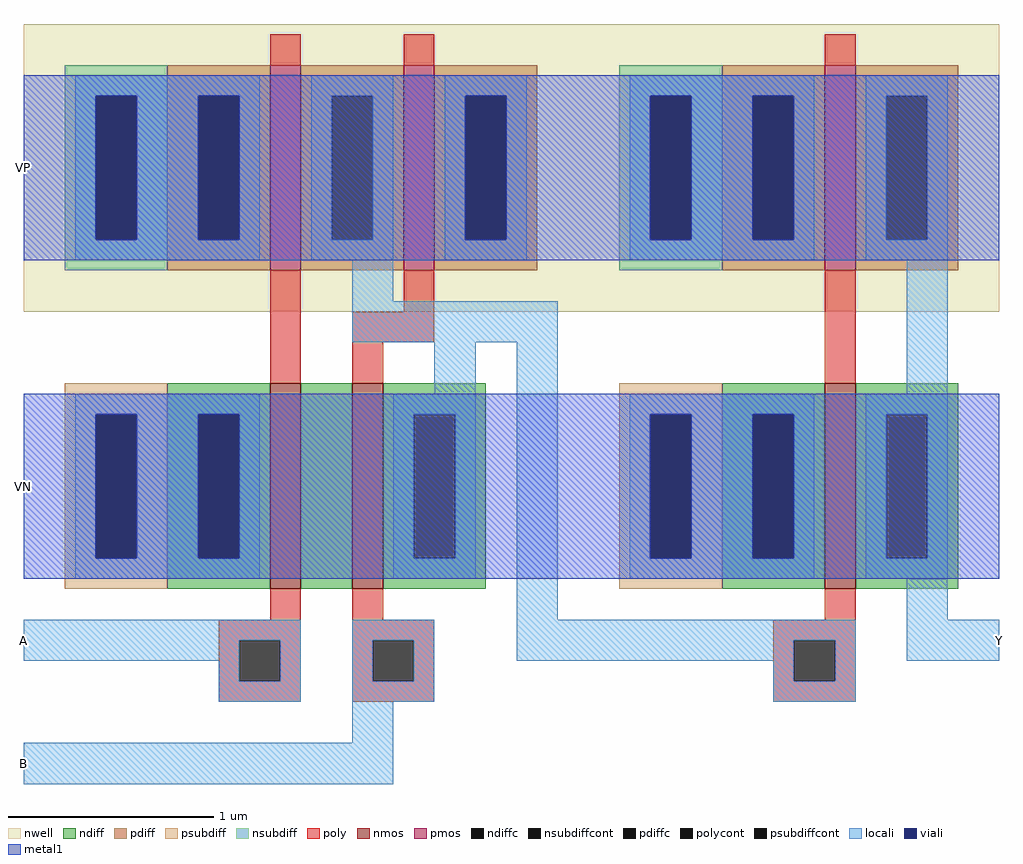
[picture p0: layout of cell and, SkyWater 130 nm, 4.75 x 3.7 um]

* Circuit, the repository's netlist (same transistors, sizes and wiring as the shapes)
* NGSPICE file created from and.ext - technology: sky130A

.subckt inverter A Y VP VN
X0 Y A VP VP sky130_fd_pr__pfet_01v8 ad=0.5 pd=3 as=0.5 ps=3 w=1 l=0.15
X1 Y A VN VN sky130_fd_pr__nfet_01v8 ad=0.5 pd=3 as=0.5 ps=3 w=1 l=0.15
.ends

.subckt nand A B Y VP VN
X0 Y A VP VP sky130_fd_pr__pfet_01v8 ad=0.25 pd=1.5 as=0.5 ps=3 w=1 l=0.15
X1 a_30_0# A VN VN sky130_fd_pr__nfet_01v8 ad=0.125 pd=1.25 as=0.5 ps=3 w=1 l=0.15
X2 Y B a_30_0# VN sky130_fd_pr__nfet_01v8 ad=0.5 pd=3 as=0.125 ps=1.25 w=1 l=0.15
X3 VP B Y VP sky130_fd_pr__pfet_01v8 ad=0.5 pd=3 as=0.25 ps=1.5 w=1 l=0.15
.ends


* Top level circuit and

Xinverter_0 nand_1/Y Y VP VN inverter
Xnand_1 A B nand_1/Y VP VN nand
.end

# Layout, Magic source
magic
tech sky130A
<< locali >>
rect -280 30 -260 50
rect 175 30 195 50
rect -280 -30 -260 -10
<< metal1 >>
rect -280 225 -255 315
rect -280 70 -255 160
use inverter  inverter_0
transform 1 0 105 0 1 75
box -115 -65 90 265
use nand  nand_1
transform 1 0 -160 0 1 65
box -120 -95 150 275
<< labels >>
rlabel locali -280 40 -280 40 7 A
rlabel locali -280 -20 -280 -20 7 B
rlabel locali 195 40 195 40 3 Y
rlabel metal1 -280 270 -280 270 7 VP
rlabel metal1 -280 115 -280 115 7 VN
<< end >>

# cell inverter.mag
magic
tech sky130A
<< nwell >>
rect -115 125 90 265
<< nmos >>
rect 5 -10 20 90
<< pmos >>
rect 5 145 20 245
<< ndiff >>
rect -45 75 5 90
rect -45 5 -30 75
rect -10 5 5 75
rect -45 -10 5 5
rect 20 75 70 90
rect 20 5 35 75
rect 55 5 70 75
rect 20 -10 70 5
<< pdiff >>
rect -45 230 5 245
rect -45 160 -30 230
rect -10 160 5 230
rect -45 145 5 160
rect 20 230 70 245
rect 20 160 35 230
rect 55 160 70 230
rect 20 145 70 160
<< ndiffc >>
rect -30 5 -10 75
rect 35 5 55 75
<< pdiffc >>
rect -30 160 -10 230
rect 35 160 55 230
<< psubdiff >>
rect -95 75 -45 90
rect -95 5 -80 75
rect -60 5 -45 75
rect -95 -10 -45 5
<< nsubdiff >>
rect -95 230 -45 245
rect -95 160 -80 230
rect -60 160 -45 230
rect -95 145 -45 160
<< psubdiffcont >>
rect -80 5 -60 75
<< nsubdiffcont >>
rect -80 160 -60 230
<< poly >>
rect 5 245 20 260
rect 5 90 20 145
rect 5 -25 20 -10
rect -20 -35 20 -25
rect -20 -55 -10 -35
rect 10 -55 20 -35
rect -20 -65 20 -55
<< polycont >>
rect -10 -55 10 -35
<< locali >>
rect -90 230 0 240
rect -90 160 -80 230
rect -60 160 -30 230
rect -10 160 0 230
rect -90 150 0 160
rect 25 230 65 240
rect 25 160 35 230
rect 55 160 65 230
rect 25 150 65 160
rect 45 85 65 150
rect -90 75 0 85
rect -90 5 -80 75
rect -60 5 -30 75
rect -10 5 0 75
rect -90 -5 0 5
rect 25 75 65 85
rect 25 5 35 75
rect 55 5 65 75
rect 25 -5 65 5
rect 45 -25 65 -5
rect -115 -35 20 -25
rect -115 -45 -10 -35
rect -20 -55 -10 -45
rect 10 -55 20 -35
rect 45 -45 90 -25
rect -20 -65 20 -55
<< viali >>
rect -80 160 -60 230
rect -30 160 -10 230
rect -80 5 -60 75
rect -30 5 -10 75
<< metal1 >>
rect -115 230 90 240
rect -115 160 -80 230
rect -60 160 -30 230
rect -10 160 90 230
rect -115 150 90 160
rect -115 75 90 85
rect -115 5 -80 75
rect -60 5 -30 75
rect -10 5 90 75
rect -115 -5 90 5
<< labels >>
rlabel locali -115 -35 -115 -35 7 A
port 1 w
rlabel locali 90 -35 90 -35 3 Y
port 2 e
rlabel metal1 -115 195 -115 195 7 VP
port 3 w
rlabel metal1 -115 40 -115 40 7 VN
port 4 w
<< end >>

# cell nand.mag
magic
tech sky130A
<< nwell >>
rect -120 135 150 275
<< nmos >>
rect 0 0 15 100
rect 40 0 55 100
<< pmos >>
rect 0 155 15 255
rect 65 155 80 255
<< ndiff >>
rect -50 85 0 100
rect -50 15 -35 85
rect -15 15 0 85
rect -50 0 0 15
rect 15 0 40 100
rect 55 85 105 100
rect 55 15 70 85
rect 90 15 105 85
rect 55 0 105 15
<< pdiff >>
rect -50 240 0 255
rect -50 170 -35 240
rect -15 170 0 240
rect -50 155 0 170
rect 15 240 65 255
rect 15 170 30 240
rect 50 170 65 240
rect 15 155 65 170
rect 80 240 130 255
rect 80 170 95 240
rect 115 170 130 240
rect 80 155 130 170
<< ndiffc >>
rect -35 15 -15 85
rect 70 15 90 85
<< pdiffc >>
rect -35 170 -15 240
rect 30 170 50 240
rect 95 170 115 240
<< psubdiff >>
rect -100 85 -50 100
rect -100 15 -85 85
rect -65 15 -50 85
rect -100 0 -50 15
<< nsubdiff >>
rect -100 240 -50 255
rect -100 170 -85 240
rect -65 170 -50 240
rect -100 155 -50 170
<< psubdiffcont >>
rect -85 15 -65 85
<< nsubdiffcont >>
rect -85 170 -65 240
<< poly >>
rect 0 255 15 270
rect 65 255 80 270
rect 0 100 15 155
rect 65 135 80 155
rect 40 120 80 135
rect 40 100 55 120
rect 0 -15 15 0
rect -25 -25 15 -15
rect -25 -45 -15 -25
rect 5 -45 15 -25
rect -25 -55 15 -45
rect 40 -15 55 0
rect 40 -25 80 -15
rect 40 -45 50 -25
rect 70 -45 80 -25
rect 40 -55 80 -45
<< polycont >>
rect -15 -45 5 -25
rect 50 -45 70 -25
<< locali >>
rect -95 240 -5 250
rect -95 170 -85 240
rect -65 170 -35 240
rect -15 170 -5 240
rect -95 160 -5 170
rect 20 240 60 250
rect 20 170 30 240
rect 50 170 60 240
rect 20 160 60 170
rect 85 240 125 250
rect 85 170 95 240
rect 115 170 125 240
rect 85 160 125 170
rect 40 140 60 160
rect 40 120 140 140
rect 80 95 100 120
rect -95 85 -5 95
rect -95 15 -85 85
rect -65 15 -35 85
rect -15 15 -5 85
rect -95 5 -5 15
rect 60 85 100 95
rect 60 15 70 85
rect 90 15 100 85
rect 60 5 100 15
rect 120 -15 140 120
rect -120 -25 15 -15
rect -120 -35 -15 -25
rect -25 -45 -15 -35
rect 5 -45 15 -25
rect -25 -55 15 -45
rect 40 -25 80 -15
rect 40 -45 50 -25
rect 70 -45 80 -25
rect 120 -35 150 -15
rect 40 -55 80 -45
rect 40 -75 60 -55
rect -120 -95 60 -75
<< viali >>
rect -85 170 -65 240
rect -35 170 -15 240
rect 95 170 115 240
rect -85 15 -65 85
rect -35 15 -15 85
<< metal1 >>
rect -120 240 150 250
rect -120 170 -85 240
rect -65 170 -35 240
rect -15 170 95 240
rect 115 170 150 240
rect -120 160 150 170
rect -120 85 150 95
rect -120 15 -85 85
rect -65 15 -35 85
rect -15 15 150 85
rect -120 5 150 15
<< labels >>
rlabel locali -120 -25 -120 -25 7 A
port 1 w
rlabel locali -120 -85 -120 -85 7 B
port 2 w
rlabel locali 150 -25 150 -25 3 Y
port 3 e
rlabel metal1 -120 205 -120 205 7 VP
port 4 w
rlabel metal1 -120 50 -120 50 7 VN
port 5 w
<< end >>
